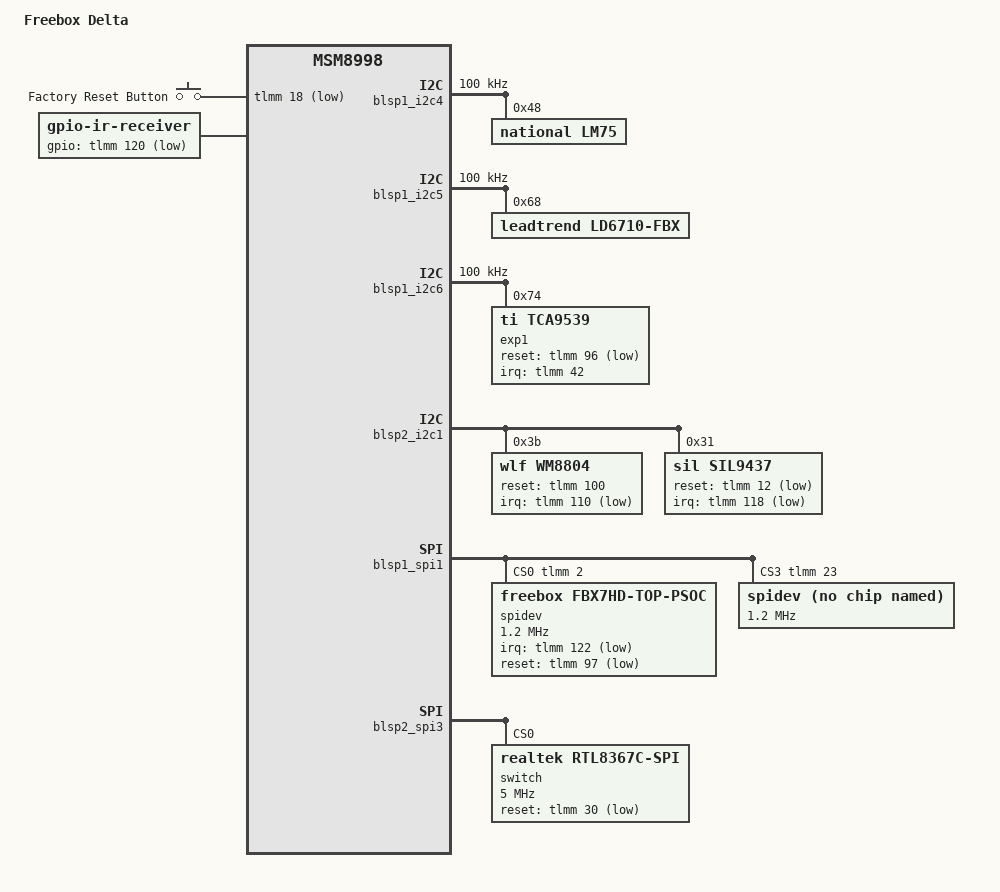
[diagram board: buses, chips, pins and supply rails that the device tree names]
// SPDX-License-Identifier: GPL-2.0
/* Copyright (c) 2016, The Linux Foundation. All rights reserved. */

/dts-v1/;

#include "apq8098-freebox.dtsi"

/ {
	model = "Freebox Delta";
	compatible = "freebox,fbx7hd-batfish", "qcom,msm8998";
	qcom,board-id = <5 2>;

	fbxgpio@0 {
		compatible = "fbx,fbxgpio";

		pinctrl-names = "default";
		pinctrl-0 = <
			&hdmi_en
			&hdmi_fault
			&force_test_mode
			&usb_hub_rst
			&spdif_src_sel
			>;

		hdmi-enable {
			name = "hdmi-enable";
			gpio = <&tlmm 17 GPIO_ACTIVE_HIGH>;
			output-low;
		};

		hdmi-fault {
			name = "hdmi-fault";
			gpio = <&tlmm 133 GPIO_ACTIVE_LOW>;
			input;
		};

		test-mode {
			name = "test-mode";
			gpio = <&tlmm 29 GPIO_ACTIVE_LOW>;
			input;
		};

		usb-reset {
			name = "usb-reset";
			gpio = <&tlmm 24 GPIO_ACTIVE_LOW>;
			output-low;
		};

		spdif-src {
			name = "spdif-src";
			gpio = <&tlmm 8 GPIO_ACTIVE_LOW>;
			output-low;
		};
	};

	fbxgpio@1 {
		compatible = "fbx,fbxgpio";

		top-wcharging-ledr {
			name = "top-wcharging-ledr";
			gpio = <&exp1 0 GPIO_ACTIVE_LOW>;
			input;
		};

		top-wcharging-ledg {
			name = "top-wcharging-ledg";
			gpio = <&exp1 1 GPIO_ACTIVE_LOW>;
			input;
		};

		top-nfc-enable {
			name = "top-nfc-enable";
			gpio = <&exp1 2 GPIO_ACTIVE_LOW>;
			output-low;
		};

		top-nfc-int {
			name = "top-nfc-int";
			gpio = <&exp1 3 GPIO_ACTIVE_LOW>;
			input;
		};

		top-dsp-reset {
			name = "top-dsp-reset";
			gpio = <&exp1 4 GPIO_ACTIVE_LOW>;
			output-low;
		};

		top-mic-mute {
			name = "top-mic-mute";
			gpio = <&exp1 7 GPIO_ACTIVE_HIGH>;
			input;
		};

		top-wcharging-stby {
			name = "top-wcharging-stby";
			gpio = <&exp1 8 GPIO_ACTIVE_LOW>;
			output-low;
		};

		top-dsp-int {
			name = "top-dsp-int";
			gpio = <&exp1 15 GPIO_ACTIVE_HIGH>;
			input;
		};
	};

	gpio_keys {
		compatible = "gpio-keys";
		pinctrl-0 = <&force_bank0>;
		pinctrl-names = "default";

		#address-cells = <1>;
		#size-cells = <0>;

		button@1 {
			label = "Factory Reset Button";
			linux,code = <KEY_SETUP>;
			gpios = <&tlmm 18 GPIO_ACTIVE_LOW>;
		};
	};

	ir: ir-receiver {
		compatible = "gpio-ir-receiver";
		gpios = <&tlmm 120 1>;
		pinctrl-names = "default";
		pinctrl-0 = <&ir_int>;
		linux,rc-map-name = "rc-rc6-freebox";
	};
};

&blsp1_i2c4 {
	status = "okay";

	clock-frequency = <100000>;

	lm75@48 {
		compatible = "national,lm75";
		reg = <0x48>;
	};

	// tas5766@4c
	// tas5766@4d
	// tas5766@4e
	// at24_audio@53
	// at24_carrier@57
};

&blsp1_i2c5 {
	status = "okay";

	clock-frequency = <100000>;

	// ti8020@44
	// usbmux@47
	// si2157@60
	// si2168@64

	ld6710-fbx@68 {
		compatible = "leadtrend,ld6710-fbx";
		reg = <0x68>;
	};
};

&blsp1_i2c6 {
	status = "okay";

	clock-frequency = <100000>;

	exp1: gpio@74 {
		compatible = "ti,tca9539";
		reg = <0x74>;

		gpio-controller;
		#gpio-cells = <2>;

		reset-gpios = <&tlmm 96 GPIO_ACTIVE_LOW>;
		interrupt-parent = <&tlmm>;
		interrupts = <42 IRQ_TYPE_LEVEL_HIGH>;
		pinctrl-names = "default";
		pinctrl-0 = <&top_exp_rst>;
	};

	// at24_top@53
};

&blsp2_i2c1 {
	status = "okay";

	wm8804@3b {
		compatible = "wlf,wm8804";
		reg = <0x3b>;
		wlf,reset-gpio = <&tlmm 100 GPIO_ACTIVE_HIGH>;
		wlf,irq-gpio = <&tlmm 110 GPIO_ACTIVE_LOW>;
	};

	sil9437@31 {
		compatible = "sil,sil9437";
		reg = <0x31>;
		sil,reset-gpio = <&tlmm 12 GPIO_ACTIVE_LOW>;
		sil,irq-gpio = <&tlmm 118 GPIO_ACTIVE_LOW>;
		sil,irq-open-drain;
		sil,irq-active-low;
	};

	// hdmi_redriver@5e
};

&blsp1_spi1 {
	status = "okay";

	pinctrl-0 = <&blsp1_spi1_default &blsp1_spi_b_default>;
	cs-gpios = <&tlmm 2 GPIO_ACTIVE_HIGH>, <0>, <0>,
		<&tlmm 23 GPIO_ACTIVE_HIGH>;

	spidev@0 {
		/* PSOC for LED & touch control */
		compatible = "freebox,fbx7hd-top-psoc";
		spi-max-frequency = <1200000>;
		irq-gpio = <&tlmm 122 GPIO_ACTIVE_LOW>;
		reset-gpio = <&tlmm 97 GPIO_ACTIVE_LOW>;
		reg = <0>;
		pinctrl-names = "default";
		pinctrl-0 = <&top_psoc_rst &top_psoc_irq>;
	};

	spidev@3 {
		/* XMOS */
		compatible = "spidev";
		spi-max-frequency = <1200000>;
		reg = <3>;
	};
};

&blsp2_spi3 {
	status = "okay";

	switch@0 {
		compatible = "realtek,rtl8367c-spi";
		reg = <0>;
		reset-gpios = <&tlmm 30 GPIO_ACTIVE_LOW>;
		spi-max-frequency = <5000000>;

		pinctrl-names = "default";
		pinctrl-0 = <&switch_rst>;
	};
};

&tlmm {
	force_bank0: force_bank0 {
		config {
			pins = "gpio18";
			bias-disable;
		};
	};

	force_test_mode: force_test_mode {
		config {
			pins = "gpio29";
			bias-pull-down;
		};
	};

	hdmi_en: hdmi_en {
		config {
			pins = "gpio17";
			bias-pull-down;
		};
	};

	hdmi_fault: hdmi_fault {
		config {
			pins = "gpio133";
			bias-pull-up;
		};
	};

	ir_int: ir_int {
		config {
			pins = "gpio120";
			drive-strength = <6>;
			bias-pull-up;
		};
	};

	spdif_src_sel: spdif_src_sel {
		config {
			pins = "gpio8";
			bias-pull-down;
		};
	};

	switch_rst: switch_rst {
		config {
			pins = "gpio30";
			bias-pull-down;
		};
	};

	top_exp_rst: top_exp_rst {
		config {
			pins = "gpio96";
			bias-pull-down;
		};
	};

	top_psoc_irq: top_psoc_irq {
		config {
			pins = "gpio122";
			bias-pull-down;
		};
	};

	top_psoc_rst: top_psoc_rst {
		config {
			pins = "gpio97";
			bias-pull-down;
		};
	};

	usb_hub_rst: usb_hub_rst {
		config {
			pins = "gpio24";
			bias-pull-down;
		};
	};
};
